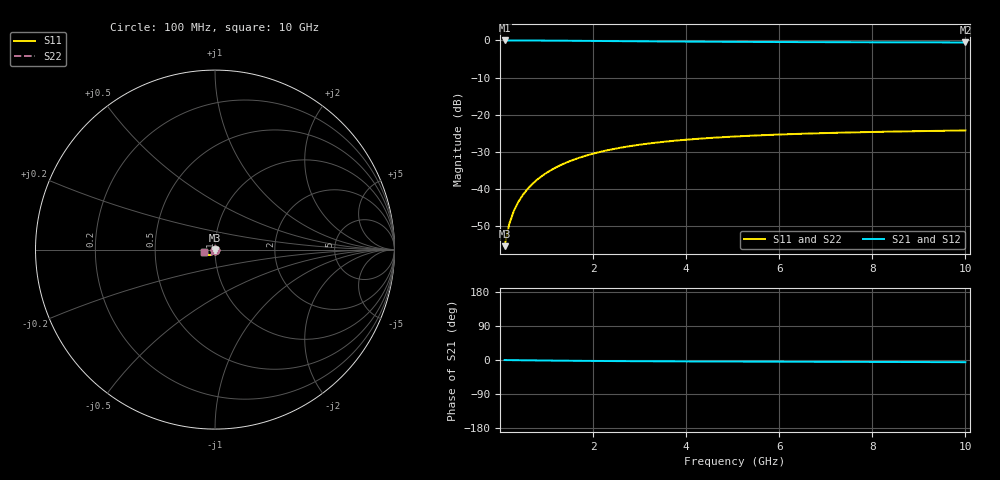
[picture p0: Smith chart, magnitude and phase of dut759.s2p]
! Touchstone file exported from HFSS 2024.1.0
!  File:  C:/UserFiles/LocalFiles/RDL_TSV_Batchsim/temp_TSV1_759_1779872134.aedt
!  Generated:  05:02:08 PM May 27, 2026
!  Design:  TSV1
!  Project:  temp_TSV1_759_1779872134
!  Setup:  Setup1
!  Solution:  Sweep
! Variables:
!  dtsv = 12.16um
!  hbump = 3um
!  htsv = 90.23um
!  lrdl = 252.1521522um
!  p = 40
!  p1 = 47.54um
!  t = 500um
!  trdl = 3um
!  wrdl = 24.89489489um
# GHz S MA R 50.000000
! Terminal data exported
! Port[1] = TSV22_T1
! Port[2] = TSV22_T2
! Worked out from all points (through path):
!   100 points, 100 MHz to 10 GHz, reference 50 ohm
!   highest |S21| = 0.00 dB at 100 MHz (marker M1); lowest = -0.5 dB at 10 GHz (marker M2)
!   lowest |S11| = -55.4 dB at 100 MHz (marker M3), VSWR 1.00, Z = 50 - j0.17 ohm
!   |S11| at or under -10 dB: start of sweep to end of sweep
!   |S22| runs from -55.4 to -24.2 dB; largest |S21 - S12| = 4.5e-15
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0.1  0.001702 -88.0  0.9998 -0.1  0.9998 -0.1  0.001702 -88.0
! Gamma 0 0 0 0
! Port Impedance 50 0 50 0
0.2  0.0034 -91.3  0.9997 -0.3  0.9997 -0.3  0.0034 -91.3
0.3  0.005097 -93.5  0.9994 -0.4  0.9994 -0.4  0.005097 -93.5
0.4  0.006787 -95.4  0.9991 -0.6  0.9991 -0.6  0.006787 -95.4
0.5  0.008465 -97.2  0.9986 -0.7  0.9986 -0.7  0.008465 -97.2
0.6  0.01012 -99.0  0.9981 -0.9  0.9981 -0.9  0.01012 -99.0
0.7  0.01176 -100.7  0.9975 -1.0  0.9975 -1.0  0.01176 -100.7
0.8  0.01337 -102.3  0.9968 -1.1  0.9968 -1.1  0.01337 -102.3
0.9  0.01495 -104.0  0.9961 -1.3  0.9961 -1.3  0.01495 -104.0
1.1  0.01802 -107.2  0.9944 -1.5  0.9944 -1.5  0.01802 -107.2
1.4  0.02234 -111.7  0.9915 -1.9  0.9915 -1.9  0.02234 -111.7
1.6  0.02503 -114.5  0.9894 -2.1  0.9894 -2.1  0.02503 -114.5
1.8  0.02755 -117.3  0.9873 -2.3  0.9873 -2.3  0.02755 -117.3
2.1  0.03104 -121.1  0.984 -2.6  0.984 -2.6  0.03104 -121.1
2.5  0.03514 -125.8  0.9795 -2.9  0.9795 -2.9  0.03514 -125.8
2.9  0.03869 -130.0  0.9753 -3.1  0.9753 -3.1  0.03869 -130.0
3.4  0.04243 -134.7  0.9704 -3.4  0.9704 -3.4  0.04243 -134.7
4.2  0.04717 -141.0  0.9636 -3.8  0.9636 -3.8  0.04717 -141.0
5.1  0.05115 -146.9  0.9575 -4.1  0.9575 -4.1  0.05115 -146.9
6.7  0.05598 -154.9  0.9495 -4.7  0.9495 -4.7  0.05598 -154.9
8.4  0.05928 -161.5  0.9437 -5.2  0.9437 -5.2  0.05928 -161.5
10  0.06139 -166.4  0.9399 -5.7  0.9399 -5.7  0.06139 -166.4
